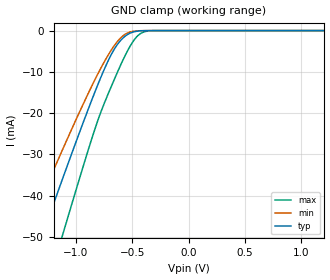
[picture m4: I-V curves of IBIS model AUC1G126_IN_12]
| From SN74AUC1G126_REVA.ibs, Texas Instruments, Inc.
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[Model]   AUC1G126_IN_12
Model_type  Input
Vinl=0.385
Vinh=0.845
| variable   typ   min   max
C_comp   2.21pF   1.84pF   2.74pF
[Temperature Range]   40   100   -40
| Ambient temperature   25   85   -40
[Voltage range]   1.2   1.1   1.3
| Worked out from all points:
|   GND clamp passes 1 mA (typ) near -0.55 V on its own axis
[GND Clamp]
| AUC1G126_IN_12
|   Voltage   I(typ)   I(min)   I(max)
-3.6V     -230.2mA   -193.8mA   -275.4mA
-1.44V    -60.52mA   -49.07mA   -79.02mA
-1.275V   -47.77mA   -38.55mA   -63.84mA
-1.12V    -35.95mA   -28.87mA   -49.59mA
-1.085V   -33.31mA   -26.72mA   -46.38mA
-820mV    -14.04mA   -11.24mA   -22.86mA
-690mV    -5.96mA    -4.844mA   -13.74mA
-575mV    -1.609mA   -1.103mA   -6.664mA
-495mV    -364.8uA   -190.1uA   -2.692mA
-435mV    -83.65uA   -40.81uA   -873uA
-295mV    -1.276uA   -867.6nA   -9.761uA
1.2V      133.3pA    224.2pA    123.7pA
